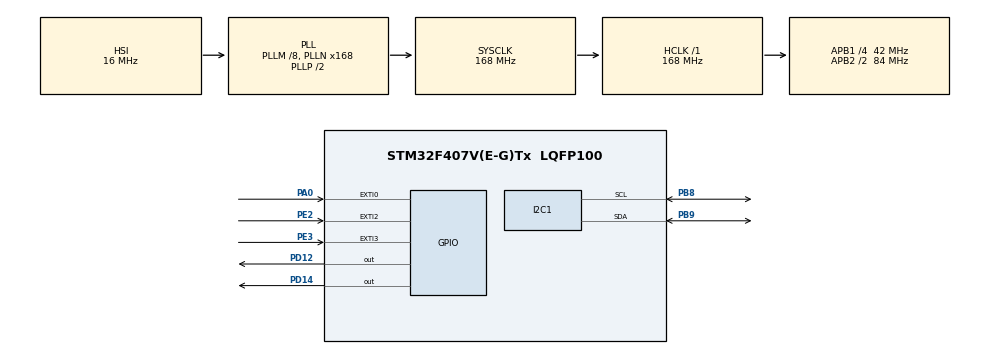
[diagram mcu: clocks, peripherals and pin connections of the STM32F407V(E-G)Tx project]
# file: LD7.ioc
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I2C1.I2C_Mode=I2C_Fast
Mcu.Family=STM32F4
Mcu.Name=STM32F407V(E-G)Tx
Mcu.Package=LQFP100
NVIC.EXTI0_IRQn=true\:0\:0\:false\:false\:true\:true\:true\:true
NVIC.EXTI2_IRQn=true\:0\:0\:false\:false\:true\:true\:true\:true
NVIC.EXTI3_IRQn=true\:0\:0\:false\:false\:true\:true\:true\:true
NVIC.PriorityGroup=NVIC_PRIORITYGROUP_4
NVIC.TIM3_IRQn=true\:0\:0\:false\:false\:true\:true\:true\:true
PA0-WKUP.Signal=GPXTI0
PA13.Mode=Serial_Wire
PA13.Signal=SYS_JTMS-SWDIO
PA14.Mode=Serial_Wire
PA14.Signal=SYS_JTCK-SWCLK
PB8.Mode=I2C
PB8.Signal=I2C1_SCL
PB9.Mode=I2C
PB9.Signal=I2C1_SDA
PD12.Signal=GPIO_Output
PD14.Signal=GPIO_Output
PE2.GPIO_ModeDefaultEXTI=GPIO_MODE_IT_FALLING
PE2.GPIO_PuPd=GPIO_PULLUP
PE2.Signal=GPXTI2
PE3.GPIO_ModeDefaultEXTI=GPIO_MODE_IT_FALLING
PE3.GPIO_PuPd=GPIO_PULLUP
PE3.Signal=GPXTI3
PH0-OSC_IN.Mode=HSE-External-Oscillator
PH0-OSC_IN.Signal=RCC_OSC_IN
PH1-OSC_OUT.Mode=HSE-External-Oscillator
PH1-OSC_OUT.Signal=RCC_OSC_OUT
ProjectManager.HeapSize=0x200
ProjectManager.StackSize=0x400
ProjectManager.TargetToolchain=STM32CubeIDE
RCC.48MHZClocksFreq_Value=84000000
RCC.AHBFreq_Value=168000000
RCC.APB1CLKDivider=RCC_HCLK_DIV4
RCC.APB1Freq_Value=42000000
RCC.APB1TimFreq_Value=84000000
RCC.APB2CLKDivider=RCC_HCLK_DIV2
RCC.APB2Freq_Value=84000000
RCC.APB2TimFreq_Value=168000000
RCC.CortexFreq_Value=168000000
RCC.HCLKFreq_Value=168000000
RCC.HSE_VALUE=25000000
RCC.HSI_VALUE=16000000
RCC.LSE_VALUE=32768
RCC.PLLM=8
RCC.PLLN=168
RCC.SYSCLKFreq_VALUE=168000000
RCC.SYSCLKSource=RCC_SYSCLKSOURCE_PLLCLK
RCC.VCOOutputFreq_Value=336000000
TIM3.Prescaler=8399
VP_TIM3_VS_ClockSourceINT.Mode=Internal
board=custom

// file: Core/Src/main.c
/* USER CODE BEGIN Header */
/**
  ******************************************************************************
  * @file           : main.c
  * @brief          : Main program body
  ******************************************************************************
  * @attention
  *
  * Copyright (c) 2026 STMicroelectronics.
  * All rights reserved.
  *
  * This software is licensed under terms that can be found in the LICENSE file
  * in the root directory of this software component.
  * If no LICENSE file comes with this software, it is provided AS-IS.
  *
  ******************************************************************************
  */
/* USER CODE END Header */
#include "main.h"

/* USER CODE BEGIN Includes */
#include "ssd1306.h"
#include "ssd1306_fonts.h"
/* USER CODE END Includes */

I2C_HandleTypeDef hi2c1;

TIM_HandleTypeDef htim3;

void SystemClock_Config(void);
static void MX_GPIO_Init(void);
static void MX_I2C1_Init(void);
static void MX_TIM3_Init(void);

/* USER CODE BEGIN 0 */
#include <stdlib.h>
#include <stdio.h>

typedef enum { MENU, PLAYING, GAME_OVER } GameState;
volatile GameState state = MENU;

// Pridedame volatile, nes reikšmės keisis pertrauktyse
volatile int player_x = 54;
const int player_w = 20;
const int player_y = 58;

volatile int obj_x = 60;
volatile int obj_y = 10;

volatile int score = 0;
volatile int lives = 3;
volatile int high_score = 0; // Naujas reikalavimas

volatile uint8_t needs_redraw = 1;

// Laikmačio kintamieji (TIM3 sukonfigūruotas 20ms)
volatile int fall_timer = 0;
volatile int fall_threshold = 7; // 7 * 20ms = 140ms (apytiksliai 150ms reikalavimas)

void Spawn_Object() {
    obj_x = rand() % 118;
    obj_y = 10;
}

void Reset_Game() {
    score = 0;
    lives = 3;
    player_x = 54;
    fall_threshold = 7; // Atstatome pradinį greitį
    Spawn_Object();
    state = PLAYING;
    needs_redraw = 1;
}
/* USER CODE END 0 */

int main(void)
{

  /* MCU Configuration--------------------------------------------------------*/

  /* Reset of all peripherals, Initializes the Flash interface and the Systick. */
  HAL_Init();

  /* Configure the system clock */
  SystemClock_Config();

  /* Initialize all configured peripherals */
  MX_GPIO_Init();
  MX_I2C1_Init();
  MX_TIM3_Init();
  /* USER CODE BEGIN 2 */
    ssd1306_Init();
    srand(HAL_GetTick());

    // PALEIDŽIAME TIM3 SU PERTRAUKTIMIS
    HAL_TIM_Base_Start_IT(&htim3);
  /* USER CODE END 2 */

  /* Infinite loop */
  /* USER CODE BEGIN WHILE */
    while (1)
    {
        // EKRANO ATNAUJINIMAS
        if (needs_redraw) {
            ssd1306_Fill(Black);
            char buf[32];

            if (state == MENU) {
                ssd1306_SetCursor(15, 25);
                ssd1306_WriteString("PA0 to START", Font_7x10, White);
                sprintf(buf, "High Score: %d", high_score);
                ssd1306_SetCursor(15, 45);
                ssd1306_WriteString(buf, Font_7x10, White);
            }
            else if (state == GAME_OVER) {
                ssd1306_SetCursor(25, 15);
                ssd1306_WriteString("GAME OVER!", Font_7x10, White);
                sprintf(buf, "Score: %d", score);
                ssd1306_SetCursor(35, 30);
                ssd1306_WriteString(buf, Font_7x10, White);
                sprintf(buf, "High: %d", high_score);
                ssd1306_SetCursor(35, 45);
                ssd1306_WriteString(buf, Font_7x10, White);
            }
            else if (state == PLAYING) {
                sprintf(buf, "S:%d L:%d HS:%d", score, lives, high_score);
                ssd1306_SetCursor(0, 0);
                ssd1306_WriteString(buf, Font_7x10, White);

                // Gaudyklės piešimas
                for (int i = 0; i < 4; i++) {
                    for (int p = 0; p < player_w; p++) {
                        ssd1306_DrawPixel(player_x + p, player_y + i, White);
                    }
                }

                // Krentantis objektas
                ssd1306_SetCursor(obj_x, obj_y);
                ssd1306_WriteString("B", Font_7x10, White);
            }

            ssd1306_UpdateScreen();
            needs_redraw = 0;
        }
    /* USER CODE END WHILE */

  }
}

void SystemClock_Config(void)
{
  RCC_OscInitTypeDef RCC_OscInitStruct = {0};
  RCC_ClkInitTypeDef RCC_ClkInitStruct = {0};

  /** Configure the main internal regulator output voltage
  */
  __HAL_RCC_PWR_CLK_ENABLE();
  __HAL_PWR_VOLTAGESCALING_CONFIG(PWR_REGULATOR_VOLTAGE_SCALE1);

  /** Initializes the RCC Oscillators according to the specified parameters
  * in the RCC_OscInitTypeDef structure.
  */
  RCC_OscInitStruct.OscillatorType = RCC_OSCILLATORTYPE_HSI;
  RCC_OscInitStruct.HSIState = RCC_HSI_ON;
  RCC_OscInitStruct.HSICalibrationValue = RCC_HSICALIBRATION_DEFAULT;
  RCC_OscInitStruct.PLL.PLLState = RCC_PLL_ON;
  RCC_OscInitStruct.PLL.PLLSource = RCC_PLLSOURCE_HSI;
  RCC_OscInitStruct.PLL.PLLM = 8;
  RCC_OscInitStruct.PLL.PLLN = 168;
  RCC_OscInitStruct.PLL.PLLP = RCC_PLLP_DIV2;
  RCC_OscInitStruct.PLL.PLLQ = 4;
  if (HAL_RCC_OscConfig(&RCC_OscInitStruct) != HAL_OK)
  {
    Error_Handler();
  }

  /** Initializes the CPU, AHB and APB buses clocks
  */
  RCC_ClkInitStruct.ClockType = RCC_CLOCKTYPE_HCLK|RCC_CLOCKTYPE_SYSCLK
                              |RCC_CLOCKTYPE_PCLK1|RCC_CLOCKTYPE_PCLK2;
  RCC_ClkInitStruct.SYSCLKSource = RCC_SYSCLKSOURCE_PLLCLK;
  RCC_ClkInitStruct.AHBCLKDivider = RCC_SYSCLK_DIV1;
  RCC_ClkInitStruct.APB1CLKDivider = RCC_HCLK_DIV4;
  RCC_ClkInitStruct.APB2CLKDivider = RCC_HCLK_DIV2;

  if (HAL_RCC_ClockConfig(&RCC_ClkInitStruct, FLASH_LATENCY_5) != HAL_OK)
  {
    Error_Handler();
  }
}

static void MX_I2C1_Init(void)
{

  hi2c1.Instance = I2C1;
  hi2c1.Init.ClockSpeed = 400000;
  hi2c1.Init.DutyCycle = I2C_DUTYCYCLE_2;
  hi2c1.Init.OwnAddress1 = 0;
  hi2c1.Init.AddressingMode = I2C_ADDRESSINGMODE_7BIT;
  hi2c1.Init.DualAddressMode = I2C_DUALADDRESS_DISABLE;
  hi2c1.Init.OwnAddress2 = 0;
  hi2c1.Init.GeneralCallMode = I2C_GENERALCALL_DISABLE;
  hi2c1.Init.NoStretchMode = I2C_NOSTRETCH_DISABLE;
  if (HAL_I2C_Init(&hi2c1) != HAL_OK)
  {
    Error_Handler();
  }

}

static void MX_TIM3_Init(void)
{

  TIM_ClockConfigTypeDef sClockSourceConfig = {0};
  TIM_MasterConfigTypeDef sMasterConfig = {0};

  htim3.Instance = TIM3;
  htim3.Init.Prescaler = 8399;
  htim3.Init.CounterMode = TIM_COUNTERMODE_UP;
  htim3.Init.Period = 65535;
  htim3.Init.ClockDivision = TIM_CLOCKDIVISION_DIV1;
  htim3.Init.AutoReloadPreload = TIM_AUTORELOAD_PRELOAD_DISABLE;
  if (HAL_TIM_Base_Init(&htim3) != HAL_OK)
  {
    Error_Handler();
  }
  sClockSourceConfig.ClockSource = TIM_CLOCKSOURCE_INTERNAL;
  if (HAL_TIM_ConfigClockSource(&htim3, &sClockSourceConfig) != HAL_OK)
  {
    Error_Handler();
  }
  sMasterConfig.MasterOutputTrigger = TIM_TRGO_RESET;
  sMasterConfig.MasterSlaveMode = TIM_MASTERSLAVEMODE_DISABLE;
  if (HAL_TIMEx_MasterConfigSynchronization(&htim3, &sMasterConfig) != HAL_OK)
  {
    Error_Handler();
  }

}

static void MX_GPIO_Init(void)
{
  GPIO_InitTypeDef GPIO_InitStruct = {0};

  /* GPIO Ports Clock Enable */
  __HAL_RCC_GPIOE_CLK_ENABLE();
  __HAL_RCC_GPIOH_CLK_ENABLE();
  __HAL_RCC_GPIOA_CLK_ENABLE();
  __HAL_RCC_GPIOD_CLK_ENABLE();
  __HAL_RCC_GPIOB_CLK_ENABLE();

  /*Configure GPIO pin Output Level */
  HAL_GPIO_WritePin(GPIOD, GPIO_PIN_12|GPIO_PIN_14, GPIO_PIN_RESET);

  /*Configure GPIO pins : PE2 PE3 */
  GPIO_InitStruct.Pin = GPIO_PIN_2|GPIO_PIN_3;
  GPIO_InitStruct.Mode = GPIO_MODE_IT_FALLING;
  GPIO_InitStruct.Pull = GPIO_PULLUP;
  HAL_GPIO_Init(GPIOE, &GPIO_InitStruct);

  /*Configure GPIO pin : PA0 */
  GPIO_InitStruct.Pin = GPIO_PIN_0;
  GPIO_InitStruct.Mode = GPIO_MODE_IT_RISING;
  GPIO_InitStruct.Pull = GPIO_NOPULL;
  HAL_GPIO_Init(GPIOA, &GPIO_InitStruct);

  /*Configure GPIO pins : PD12 PD14 */
  GPIO_InitStruct.Pin = GPIO_PIN_12|GPIO_PIN_14;
  GPIO_InitStruct.Mode = GPIO_MODE_OUTPUT_PP;
  GPIO_InitStruct.Pull = GPIO_NOPULL;
  GPIO_InitStruct.Speed = GPIO_SPEED_FREQ_LOW;
  HAL_GPIO_Init(GPIOD, &GPIO_InitStruct);

  /* EXTI interrupt init*/
  HAL_NVIC_SetPriority(EXTI0_IRQn, 0, 0);
  HAL_NVIC_EnableIRQ(EXTI0_IRQn);

  HAL_NVIC_SetPriority(EXTI2_IRQn, 0, 0);
  HAL_NVIC_EnableIRQ(EXTI2_IRQn);

  HAL_NVIC_SetPriority(EXTI3_IRQn, 0, 0);
  HAL_NVIC_EnableIRQ(EXTI3_IRQn);

}

/* USER CODE BEGIN 4 */

// MYGTUKŲ PERTRAUKTYS (EXTI)
void HAL_GPIO_EXTI_Callback(uint16_t GPIO_Pin) {
    if (GPIO_Pin == GPIO_PIN_0) { // PA0 (START/PAUSE)
        if (state == MENU || state == GAME_OVER) {
            Reset_Game();
        } else if (state == PLAYING) {
            state = MENU; // Pauzė
            needs_redraw = 1;
        }
    }

    if (state == PLAYING) {
        if (GPIO_Pin == GPIO_PIN_2) { // PE2 (LEFT)
            if (player_x > 0) player_x -= 6; // Slenkame daugiau, nes EXTI nereaguoja į mygtuko laikymą
            needs_redraw = 1;
        }
        if (GPIO_Pin == GPIO_PIN_3) { // PE3 (RIGHT)
            if (player_x < (128 - player_w)) player_x += 6;
            needs_redraw = 1;
        }
    }
}

// LAIKMAČIO PERTRAUKTIS (TIM3)
void HAL_TIM_PeriodElapsedCallback(TIM_HandleTypeDef *htim) {
    if (htim->Instance == TIM3) {
        if (state == PLAYING) {
            fall_timer++;

            // Tikriname, ar jau laikas slinkti objektą žemyn
            if (fall_timer >= fall_threshold) {
                fall_timer = 0;
                obj_y += 3;

                // Susidūrimo detekcija
                if (obj_y >= player_y - 8) {
                    if (obj_x >= (player_x - 5) && obj_x <= (player_x + player_w)) {
                        score++;
                        HAL_GPIO_TogglePin(GPIOD, GPIO_PIN_12); // Žalias LED

                        // Greičio didinimas kas 5 taškus (mažinamas threshold)
                        if (score % 5 == 0 && fall_threshold > 2) {
                            fall_threshold--;
                        }

                        // HIGH SCORE atnaujinimas
                        if (score > high_score) {
                            high_score = score;
                        }
                    } else {
                        lives--;
                        HAL_GPIO_TogglePin(GPIOD, GPIO_PIN_14); // Raudonas LED
                        if (lives <= 0) {
                            state = GAME_OVER;
                        }
                    }
                    Spawn_Object();
                }
                needs_redraw = 1;
            }
        }
    }
}
/* USER CODE END 4 */

void Error_Handler(void)
{
  __disable_irq();
  while (1)
  {
  }
}
